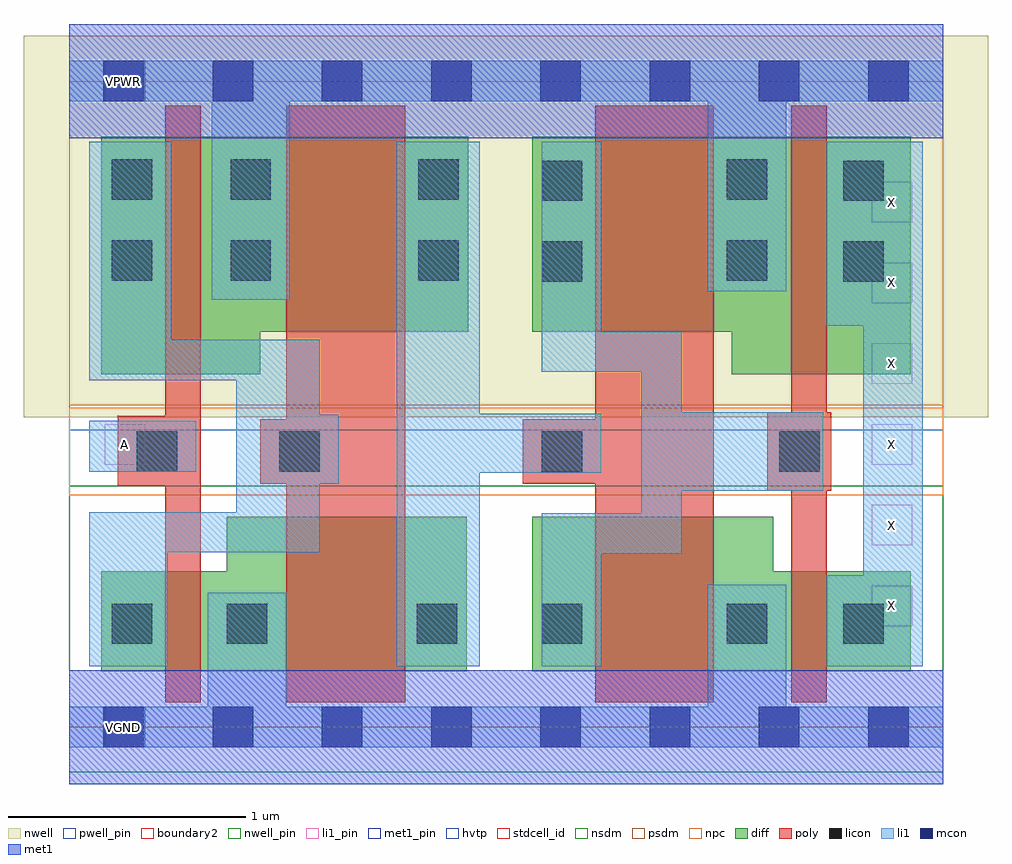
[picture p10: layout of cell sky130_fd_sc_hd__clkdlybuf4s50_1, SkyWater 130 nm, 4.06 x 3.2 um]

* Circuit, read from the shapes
.subckt sky130_fd_sc_hd__clkdlybuf4s50_1 A VGND VNB VPB VPWR X
XM1 VGND A n1 VNB sky130_fd_pr__nfet_01v8 w=0.42 l=0.15
XM2 n2 n1 VGND VNB sky130_fd_pr__nfet_01v8 w=0.65 l=0.5
XM3 VGND n2 n3 VNB sky130_fd_pr__nfet_01v8 w=0.65 l=0.5
XM4 X n3 VGND VNB sky130_fd_pr__nfet_01v8 w=0.42 l=0.15
XM5 VPWR A n1 VPB sky130_fd_pr__pfet_01v8_hvt w=1 l=0.15
XM6 n2 n1 VPWR VPB sky130_fd_pr__pfet_01v8_hvt w=0.82 l=0.5
XM7 VPWR n2 n3 VPB sky130_fd_pr__pfet_01v8_hvt w=0.82 l=0.5
XM8 X n3 VPWR VPB sky130_fd_pr__pfet_01v8_hvt w=1 l=0.15
.ends

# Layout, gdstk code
import gdstk
lib = gdstk.Library(unit=1e-6, precision=1e-09)
def R(c, l, rs):  # rectangles x0, y0, x1, y1
    for r in rs: c.add(gdstk.rectangle(r[:2], r[2:], *l))
def A(c, l, x, y, w, h, nx, ny, dx, dy):  # array of equal rectangles
    R(c, l, [(x+i*dx, y+j*dy, x+i*dx+w, y+j*dy+h) for i in range(nx) for j in range(ny)])
def P(c, l, *ps):  # polygons
    for p in ps: c.add(gdstk.Polygon(p, *l))
nwell_pin = (64, 16)
nwell = (64, 20)
diff = (65, 20)
poly = (66, 20)
licon = (66, 44)
li1_pin = (67, 16)
li1 = (67, 20)
mcon = (67, 44)
met1_pin = (68, 16)
met1 = (68, 20)
hvtp = (78, 44)
stdcell_id = (81, 4)
nsdm = (93, 44)
psdm = (94, 20)
npc = (95, 20)
pwell_pin = (122, 16)
boundary2 = (236, 0)

sky130_fd_sc_hd__clkdlyb = lib.new_cell('sky130_fd_sc_hd__clkdlybuf4s50_1')
R(sky130_fd_sc_hd__clkdlyb, nwell_pin, [(0.15,2.635,0.32,2.805)])
R(sky130_fd_sc_hd__clkdlyb, nwell, [(-0.19,1.305,3.87,2.91)])
P(sky130_fd_sc_hd__clkdlyb, diff, [(0.135,0.235),(0.135,0.655),(0.665,0.655),(0.665,0.885),(1.675,0.885),(1.675,0.235)],
  [(0.135,1.485),(0.135,2.485),(1.68,2.485),(1.68,1.665),(0.805,1.665),(0.805,1.485)],
  [(2.79,1.485),(2.79,1.665),(1.95,1.665),(1.95,2.485),(3.545,2.485),(3.545,1.485)],
  [(1.95,0.235),(1.95,0.885),(2.965,0.885),(2.965,0.655),(3.545,0.655),(3.545,0.235)])
R(sky130_fd_sc_hd__clkdlyb, poly, [(0.205,1.015,0.405,1.025), (0.205,1.3,0.405,1.31)])
P(sky130_fd_sc_hd__clkdlyb, poly, [(0.405,0.105),(0.405,1.025),(0.205,1.025),(0.205,1.3),(0.405,1.3),(0.405,2.615),(0.555,2.615),(0.555,0.105)],
  [(0.915,0.105),(0.915,1.025),(0.805,1.025),(0.805,1.295),(0.915,1.295),(0.915,2.615),(1.415,2.615),(1.415,0.105)],
  [(2.215,0.105),(2.215,1.025),(1.91,1.025),(1.91,1.295),(2.215,1.295),(2.215,2.615),(2.715,2.615),(2.715,0.105)],
  [(3.04,0.105),(3.04,0.995),(2.94,0.995),(2.94,1.325),(3.04,1.325),(3.04,2.615),(3.19,2.615),(3.19,1.325),(3.21,1.325),(3.21,0.995),(3.19,0.995),(3.19,0.105)])
R(sky130_fd_sc_hd__clkdlyb, licon, [(0.18,0.35,0.35,0.52), (0.665,0.35,0.835,0.52), (1.465,0.35,1.635,0.52), (1.99,0.35,2.16,0.52), (2.77,0.35,2.94,0.52), (3.26,0.35,3.43,0.52), (0.285,1.075,0.455,1.245), (0.885,1.075,1.055,1.245), (1.99,1.075,2.16,1.245), (2.99,1.075,3.16,1.245), (1.99,1.875,2.16,2.045), (3.26,1.875,3.43,2.045), (0.18,1.88,0.35,2.05), (0.68,1.88,0.85,2.05), (1.47,1.88,1.64,2.05), (2.77,1.88,2.94,2.05), (1.99,2.215,2.16,2.385), (3.26,2.215,3.43,2.385), (0.18,2.22,0.35,2.39), (0.68,2.22,0.85,2.39), (1.47,2.22,1.64,2.39), (2.77,2.22,2.94,2.39)])
A(sky130_fd_sc_hd__clkdlyb, li1_pin, 3.38, 0.425, 0.17, 0.17, 1, 6, 0, 0.34)
R(sky130_fd_sc_hd__clkdlyb, li1_pin, [(0.15,1.105,0.32,1.275)])
R(sky130_fd_sc_hd__clkdlyb, li1, [(0.085,1.075,0.535,1.29)])
P(sky130_fd_sc_hd__clkdlyb, li1, [(0,-0.085),(0,0.085),(0.585,0.085),(0.585,0.565),(0.915,0.565),(0.915,0.085),(2.69,0.085),(2.69,0.6),(3.02,0.6),(3.02,0.085),(3.68,0.085),(3.68,-0.085)],
  [(0.6,1.8),(0.6,2.635),(0,2.635),(0,2.805),(3.68,2.805),(3.68,2.635),(3.02,2.635),(3.02,1.835),(2.69,1.835),(2.69,2.635),(0.93,2.635),(0.93,1.8)],
  [(0.085,0.255),(0.085,0.905),(0.705,0.905),(0.705,1.46),(0.085,1.46),(0.085,2.465),(0.43,2.465),(0.43,1.63),(1.055,1.63),(1.055,1.315),(1.135,1.315),(1.135,1.025),(1.055,1.025),(1.055,0.735),(0.415,0.735),(0.415,0.255)],
  [(1.99,0.255),(1.99,0.9),(2.41,0.9),(2.41,1.495),(1.99,1.495),(1.99,2.465),(2.24,2.465),(2.24,1.665),(2.58,1.665),(2.58,1.325),(3.175,1.325),(3.175,0.995),(2.58,0.995),(2.58,0.73),(2.24,0.73),(2.24,0.255)],
  [(1.38,0.255),(1.38,2.465),(1.73,2.465),(1.73,1.32),(2.24,1.32),(2.24,1.07),(1.73,1.07),(1.73,0.255)],
  [(3.19,0.255),(3.19,0.64),(3.345,0.64),(3.345,1.69),(3.19,1.69),(3.19,2.465),(3.595,2.465),(3.595,0.255)])
A(sky130_fd_sc_hd__clkdlyb, mcon, 0.145, -0.085, 0.17, 0.17, 8, 2, 0.46, 2.72)
R(sky130_fd_sc_hd__clkdlyb, met1_pin, [(0.15,-0.085,0.32,0.085), (0.15,2.635,0.32,2.805)])
R(sky130_fd_sc_hd__clkdlyb, hvtp, [(0,1.25,3.68,2.72)])
R(sky130_fd_sc_hd__clkdlyb, stdcell_id, [(0,0,3.68,2.72)])
R(sky130_fd_sc_hd__clkdlyb, nsdm, [(0,-0.19,3.68,1.015)])
R(sky130_fd_sc_hd__clkdlyb, psdm, [(0,1.355,3.68,2.91)])
R(sky130_fd_sc_hd__clkdlyb, npc, [(0,0.975,3.68,1.345)])
R(sky130_fd_sc_hd__clkdlyb, pwell_pin, [(0.15,-0.085,0.32,0.085)])
R(sky130_fd_sc_hd__clkdlyb, boundary2, [(0,0,3.68,2.72)])
sky130_fd_sc_hd__clkdlyb.add(gdstk.FlexPath([(0,2.72),(3.68,2.72)], 0.48, ends="flush", simple_path=True, layer=68, datatype=20))  # met1
sky130_fd_sc_hd__clkdlyb.add(gdstk.FlexPath([(0,0),(3.68,0)], 0.48, ends="flush", simple_path=True, layer=68, datatype=20))  # met1
sky130_fd_sc_hd__clkdlyb.add(gdstk.Label('VGND', (0.23,0), layer=68, texttype=5))
sky130_fd_sc_hd__clkdlyb.add(gdstk.Label('VPWR', (0.23,2.72), layer=68, texttype=5))
sky130_fd_sc_hd__clkdlyb.add(gdstk.Label('A', (0.235,1.19), layer=67, texttype=5))
sky130_fd_sc_hd__clkdlyb.add(gdstk.Label('X', (3.465,2.21), layer=67, texttype=5))
sky130_fd_sc_hd__clkdlyb.add(gdstk.Label('X', (3.465,1.87), layer=67, texttype=5))
sky130_fd_sc_hd__clkdlyb.add(gdstk.Label('X', (3.465,1.53), layer=67, texttype=5))
sky130_fd_sc_hd__clkdlyb.add(gdstk.Label('X', (3.465,1.19), layer=67, texttype=5))
sky130_fd_sc_hd__clkdlyb.add(gdstk.Label('X', (3.465,0.85), layer=67, texttype=5))
sky130_fd_sc_hd__clkdlyb.add(gdstk.Label('X', (3.465,0.51), layer=67, texttype=5))
sky130_fd_sc_hd__clkdlyb.add(gdstk.Label('VPB', (0.235,2.72), layer=64, texttype=5))
sky130_fd_sc_hd__clkdlyb.add(gdstk.Label('VNB', (0.235,0), layer=64, texttype=59))
sky130_fd_sc_hd__clkdlyb.add(gdstk.Label('clkdlybuf4s50_1', (0,0), layer=83, texttype=44))

lib.write_gds('sky130_fd_sc_hd__clkdlybuf4s50_1.gds')
